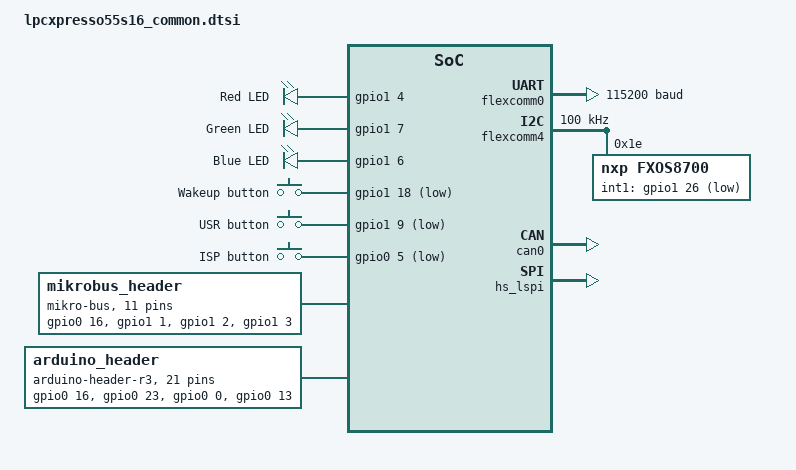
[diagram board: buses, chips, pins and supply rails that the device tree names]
/*
 * Copyright (c) 2020 Henrik Brix Andersen <henrik@brixandersen.dk>
 * Copyright 2023 NXP
 *
 * SPDX-License-Identifier: Apache-2.0
 */

#include "lpcxpresso55s16-pinctrl.dtsi"
#include <zephyr/dt-bindings/input/input-event-codes.h>

/ {
	chosen {
		zephyr,sram = &sram0;
		zephyr,flash = &flash0;
		zephyr,code-partition = &slot0_partition;
		zephyr,console = &flexcomm0;
		zephyr,shell-uart = &flexcomm0;
		zephyr,entropy = &rng;
		zephyr,canbus = &can0;
		zephyr,flash-controller = &iap;
	};

	aliases{
		led0 = &red_led;
		led1 = &green_led;
		led2 = &blue_led;
		sw0 = &btn_wk;
		sw1 = &btn_usr;
		sw2 = &btn_isp;
		usart-0 = &flexcomm0;
		magn0 = &fxos8700;
		accel0 = &fxos8700;
	};

	leds {
		compatible = "gpio-leds";
		red_led: led_0 {
			gpios = <&gpio1 4 0>;
			label = "Red LED";
		};
		green_led: led_1 {
			gpios = <&gpio1 7 0>;
			label = "Green LED";
		};
		blue_led: led_2 {
			gpios = <&gpio1 6 0>;
			label = "Blue LED";
		};
	};

	gpio_keys {
		compatible = "gpio-keys";
		btn_wk: button_0 {
			label = "Wakeup button";
			gpios = <&gpio1 18 GPIO_ACTIVE_LOW>;
			zephyr,code = <INPUT_KEY_WAKEUP>;
		};
		btn_usr: button_1 {
			label = "USR button";
			gpios = <&gpio1 9 GPIO_ACTIVE_LOW>;
			zephyr,code = <INPUT_KEY_0>;
		};
		btn_isp: button_2 {
			label = "ISP button";
			gpios = <&gpio0 5 GPIO_ACTIVE_LOW>;
			zephyr,code = <INPUT_KEY_1>;
		};
	};

	mikrobus_header: mikrobus-connector {
		compatible = "mikro-bus";
		#gpio-cells = <2>;
		gpio-map-mask = <0xffffffff 0xffffffc0>;
		gpio-map-pass-thru = <0 0x3f>;
		gpio-map =	<0 0 &gpio0 16 0>,	/* AN  */
				/* Not a GPIO*/		/* RST */
				<2 0 &gpio1 1 0>,	/* CS   */
				<3 0 &gpio1 2 0>,	/* SCK  */
				<4 0 &gpio1 3 0>,	/* MISO */
				<5 0 &gpio0 26 0>,	/* MOSI */
							/* +3.3V */
							/* GND */
				<6 0 &gpio1 5 0>,	/* PWM  */
				<7 0 &gpio1 18 0>,	/* INT  */
				<8 0 &gpio1 24 0>,	/* RX   */
				<9 0 &gpio0 27 0>,	/* TX   */
				<10 0 &gpio1 20 0>,	/* SCL  */
				<11 0 &gpio1 21 0>;	/* SDA  */
							/* +5V */
							/* GND */
	};

	arduino_header: arduino-connector {
		compatible = "arduino-header-r3";
		#gpio-cells = <2>;
		gpio-map-mask = <0xffffffff 0xffffffc0>;
		gpio-map-pass-thru = <0 0x3f>;
		gpio-map =	<0 0 &gpio0 16 0>,	/* A0 */
				<1 0 &gpio0 23 0>,	/* A1 */
				<2 0 &gpio0 0 0>,	/* A2 */
				/* R63 DNP, A3 not connected  */
				/* <3 0 &gpio1 31 0>,*/	/* A3 */
				<4 0 &gpio0 13 0>,	/* A4 */
				<5 0 &gpio0 14 0>,	/* A5 */
				<6 0 &gpio1 24 0>,	/* D0 */
				<7 0 &gpio0 27 0>,	/* D1 */
				<8 0 &gpio0 15 0>,	/* D2 */
				<9 0 &gpio1 6 0>,	/* D3 */
				<10 0 &gpio1 7 0>,	/* D4 */
				<11 0 &gpio1 4 0>,	/* D5 */
				<12 0 &gpio1 10 0>,	/* D6 */
				<13 0 &gpio1 9 0>,	/* D7 */
				<14 0 &gpio1 8 0>,	/* D8 */
				<15 0 &gpio1 5 0>,	/* D9 */
				<16 0 &gpio1 1 0>,	/* D10 */
				<17 0 &gpio0 26 0>,	/* D11 */
				<18 0 &gpio1 3 0>,	/* D12 */
				<19 0 &gpio1 2 0>,	/* D13 */
				<20 0 &gpio1 21 0>,	/* D14 */
				<21 0 &gpio1 20 0>;	/* D15 */
	};
};

&flexcomm0 {
	status = "okay";
	compatible = "nxp,lpc-usart";
	current-speed = <115200>;
	pinctrl-0 = <&pinmux_flexcomm0_usart>;
	pinctrl-names = "default";
};

&flexcomm4 {
	status = "okay";
	compatible = "nxp,lpc-i2c";
	clock-frequency = <I2C_BITRATE_STANDARD>;
	#address-cells = <1>;
	#size-cells = <0>;
	pinctrl-0 = <&pinmux_flexcomm4_i2c>;
	pinctrl-names = "default";

	fxos8700: fxos8700@1e {
		compatible = "nxp,fxos8700";
		reg = <0x1e>;
		int1-gpios = <&gpio1 26 (GPIO_ACTIVE_LOW | GPIO_PULL_UP)>;
	};
};

&can0 {
	status = "okay";
	pinctrl-0 = <&pinmux_can0>;
	pinctrl-names = "default";

	can-transceiver {
		max-bitrate = <5000000>;
	};
};

&hs_lspi {
	status = "okay";
	pinctrl-0 = <&pinmux_hs_lspi>;
	pinctrl-names = "default";
};

&flash0 {
	partitions {
		compatible = "fixed-partitions";
		#address-cells = <1>;
		#size-cells = <1>;
		boot_partition: partition@0 {
			label = "mcuboot";
			reg = <0x0 DT_SIZE_K(32)>;
		};
		slot0_partition: partition@8000 {
			label = "image-0";
			reg = <0x00008000 DT_SIZE_K(96)>;
		};
		slot1_partition: partition@20000 {
			label = "image-1";
			reg = <0x00020000 DT_SIZE_K(96)>;
		};
		storage_partition: partition@38000 {
			label = "storage";
			reg = <0x00038000 DT_SIZE_K(20)>;
		};
		/* The last 12KB are reserved for PFR on the 256KB flash. */
	};
};

arduino_i2c: &flexcomm4 {};

arduino_spi: &hs_lspi {};

mikrobus_i2c: &flexcomm4 {};

mikrobus_spi: &hs_lspi {};
